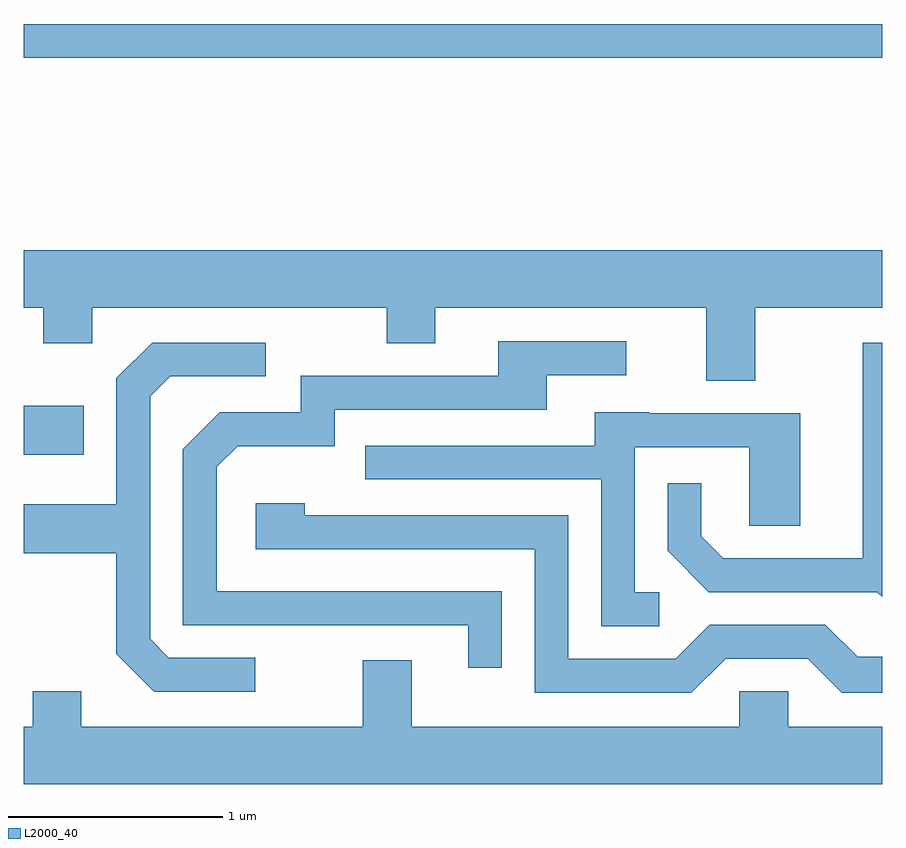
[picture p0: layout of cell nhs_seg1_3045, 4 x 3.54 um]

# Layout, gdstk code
import gdstk
lib = gdstk.Library(unit=1e-6, precision=1e-09)
def R(c, l, rs):  # rectangles x0, y0, x1, y1
    for r in rs: c.add(gdstk.rectangle(r[:2], r[2:], *l))
def P(c, l, *ps):  # polygons
    for p in ps: c.add(gdstk.Polygon(p, *l))
L2000_40 = (2000, 40)

nhs_seg1_3045 = lib.new_cell('nhs_seg1_3045')
R(nhs_seg1_3045, L2000_40, [(277.611,885.571,277.889,885.799), (277.611,887.421,281.611,887.579)])
P(nhs_seg1_3045, L2000_40, [(281.019,886.256),(281.611,886.256),(281.611,886.524),(277.611,886.524),(277.611,886.256),(277.701,886.256),(277.701,886.091),(277.929,886.091),(277.929,886.256),(279.301,886.256),(279.301,886.091),(279.529,886.091),(279.529,886.256),(280.791,886.256),(280.791,885.916),(281.019,885.916)],
  [(279.839,884.934),(278.509,884.934),(278.509,885.514),(278.607,885.611),(279.059,885.611),(279.059,885.781),(280.049,885.781),(280.049,885.941),(280.418,885.941),(280.418,886.099),(279.821,886.099),(279.821,885.939),(278.901,885.939),(278.901,885.769),(278.524,885.769),(278.351,885.597),(278.351,884.776),(279.681,884.776),(279.681,884.578),(279.839,884.578)],
  [(278.688,884.624),(278.287,884.624),(278.199,884.712),(278.199,885.844),(278.292,885.936),(278.738,885.936),(278.738,886.094),(278.209,886.094),(278.041,885.927),(278.041,885.339),(277.611,885.339),(277.611,885.111),(278.041,885.111),(278.041,884.644),(278.219,884.466),(278.688,884.466)],
  [(281.611,886.094),(281.521,886.094),(281.521,885.089),(280.872,885.089),(280.769,885.192),(280.769,885.438),(280.611,885.438),(280.611,885.124),(280.804,884.931),(281.589,884.931),(281.611,884.909)],
  [(280.573,884.929),(280.459,884.929),(280.459,885.606),(280.991,885.606),(280.991,885.241),(281.229,885.241),(281.229,885.764),(280.525,885.764),(280.525,885.769),(280.271,885.769),(280.271,885.614),(279.203,885.614),(279.203,885.456),(280.301,885.456),(280.301,884.771),(280.573,884.771)],
  [(280.882,884.621),(281.264,884.621),(281.424,884.461),(281.611,884.461),(281.611,884.629),(281.497,884.629),(281.347,884.779),(280.809,884.779),(280.649,884.619),(280.149,884.619),(280.149,885.289),(278.919,885.289),(278.919,885.344),(278.691,885.344),(278.691,885.131),(279.991,885.131),(279.991,884.461),(280.722,884.461)],
  [(281.611,884.304),(281.174,884.304),(281.174,884.469),(280.946,884.469),(280.946,884.304),(279.419,884.304),(279.419,884.614),(279.191,884.614),(279.191,884.304),(277.879,884.304),(277.879,884.469),(277.651,884.469),(277.651,884.304),(277.611,884.304),(277.611,884.036),(281.611,884.036)])

lib.write_gds('nhs_seg1_3045.gds')
